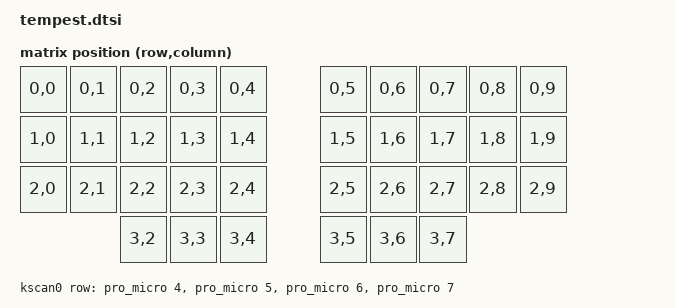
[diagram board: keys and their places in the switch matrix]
/*
 * Copyright (c) 2020 Pete Johanson
 *
 * SPDX-License-Identifier: MIT
 */

#include <dt-bindings/zmk/matrix_transform.h>
#include "tempest-layouts.dtsi"

/ {
    chosen {
        zephyr,display = &oled;
        zmk,kscan = &kscan0;
        /*
         * A physical layout, NOT `zmk,matrix_transform`. ZMK treats the two as
         * mutually exclusive:
         *
         *   USE_PHY_LAYOUTS = DT_HAS_COMPAT_STATUS_OKAY(zmk_physical_layout)
         *                     && !DT_HAS_CHOSEN(zmk,matrix_transform)
         *
         * and a ZMK Studio build asserts USE_PHY_LAYOUTS, so selecting the
         * layout here is what allows CONFIG_ZMK_STUDIO=y. The transform below is
         * unchanged and is now reached through the layout's `transform` phandle.
         */
        zmk,physical-layout = &tempest_layout;
    };

    /* Matrix transform: 10 columns, 4 rows, 36 positions. Unchanged. */
    default_transform: keymap_transform_0 {
        compatible = "zmk,matrix-transform";
        columns = <10>;
        rows = <4>;
// | SW1  | SW2  | SW3  | SW4  | SW5  |   | SW5  | SW4  | SW3  | SW2  | SW1  |
// | SW6  | SW7  | SW8  | SW9  | SW10 |   | SW10 | SW9  | SW8  | SW7  | SW6  |
// | SW11 | SW12 | SW13 | SW14 | SW15 |   | SW15 | SW14 | SW13 | SW12 | SW11 |
//               | SW16 | SW17 | SW18 |   | SW18 | SW17 | SW16 |
        map = <
RC(0,0) RC(0,1) RC(0,2) RC(0,3) RC(0,4)  RC(0,5) RC(0,6) RC(0,7) RC(0,8) RC(0,9)
RC(1,0) RC(1,1) RC(1,2) RC(1,3) RC(1,4)  RC(1,5) RC(1,6) RC(1,7) RC(1,8) RC(1,9)
RC(2,0) RC(2,1) RC(2,2) RC(2,3) RC(2,4)  RC(2,5) RC(2,6) RC(2,7) RC(2,8) RC(2,9)
                RC(3,2) RC(3,3) RC(3,4)  RC(3,5) RC(3,6) RC(3,7)
        >;
    };

    kscan0: kscan {
        compatible = "zmk,kscan-gpio-matrix";
        label = "KSCAN";

        diode-direction = "col2row";
        row-gpios
            = <&pro_micro 4 (GPIO_ACTIVE_HIGH | GPIO_PULL_DOWN)>
            , <&pro_micro 5 (GPIO_ACTIVE_HIGH | GPIO_PULL_DOWN)>
            , <&pro_micro 6 (GPIO_ACTIVE_HIGH | GPIO_PULL_DOWN)>
            , <&pro_micro 7 (GPIO_ACTIVE_HIGH | GPIO_PULL_DOWN)>
            ;

    };
};

&pro_micro_i2c {
    status = "okay";

    oled: ssd1306@3c {
        compatible = "solomon,ssd1306fb";
        reg = <0x3c>;
        label = "DISPLAY";
        width = <128>;
        height = <32>;
        segment-offset = <0>;
        page-offset = <0>;
        display-offset = <0>;
        multiplex-ratio = <31>;
        segment-remap;
        com-invdir;
        com-sequential;
        prechargep = <0x22>;
    };
};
